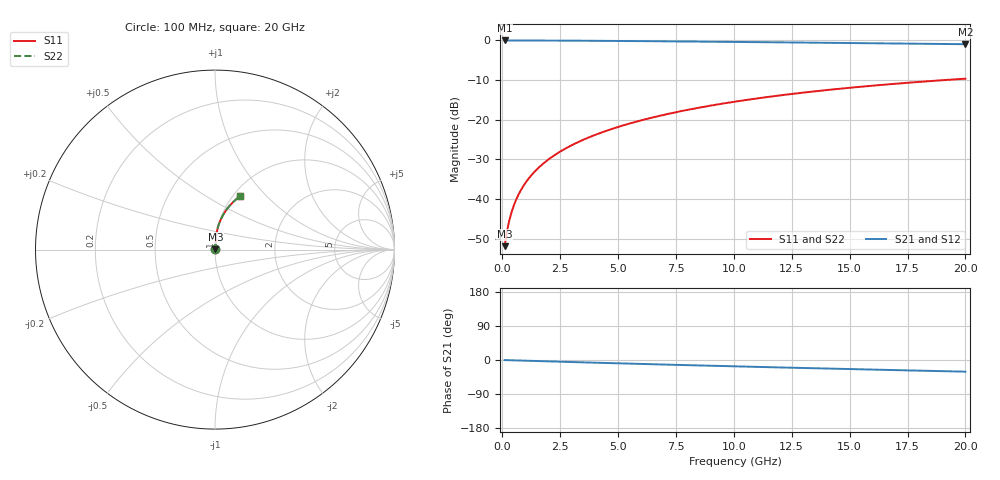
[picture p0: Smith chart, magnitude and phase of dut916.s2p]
! Touchstone file exported from HFSS 2024.1.0
!  File:  C:/UserFiles/LocalFiles/RDL_TSV_Batchsim/temp_RDL_bottom_916_1779940725.aedt
!  Generated:  12:01:41 PM May 28, 2026
!  Design:  RDL_bottom
!  Project:  temp_RDL_bottom_916_1779940725
!  Setup:  Setup1
!  Solution:  Sweep
! Variables:
!  dtsv = 10.80580581um
!  hbump = 3um
!  htsv = 87.09um
!  ldown = 379.09um
!  lrdl = 100um
!  p = 40
!  p1 = 58.89um
!  rhole = 1um
!  t = 450um
!  tdown = 3.62um
!  trdl = 3.915915916um
!  wdown = 21.67um
!  wrdl = 20um
# GHz S MA R 50.000000
! Terminal data exported
! Port[1] = RDL1_T1
! Port[2] = RDL1_T2
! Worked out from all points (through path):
!   200 points, 100 MHz to 20 GHz, reference 50 ohm
!   highest |S21| = -0.02 dB at 100 MHz (marker M1); lowest = -1.0 dB at 20 GHz (marker M2)
!   group delay of S21, straight-line fit = 4.24 ps
!   lowest |S11| = -51.9 dB at 100 MHz (marker M3), VSWR 1.01, Z = 50.2 + j0.169 ohm
!   |S11| at or under -10 dB: start of sweep to 19.11 GHz
!   |S22| runs from -51.9 to -9.6 dB; largest |S21 - S12| = 3.6e-15
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0.1  0.002543 41.3  0.9981 -0.2  0.9981 -0.2  0.002543 41.3
! Gamma 0 0 0 0
! Port Impedance 50 0 50 0
0.2  0.003867 59.0  0.998 -0.4  0.998 -0.4  0.003867 59.0
0.3  0.005328 67.1  0.9979 -0.6  0.9979 -0.6  0.005328 67.1
0.4  0.006818 71.6  0.9978 -0.7  0.9978 -0.7  0.006818 71.6
0.5  0.00832 74.6  0.9976 -0.9  0.9976 -0.9  0.00832 74.6
0.6  0.009832 76.8  0.9975 -1.1  0.9975 -1.1  0.009832 76.8
0.8  0.01288 79.6  0.9973 -1.5  0.9973 -1.5  0.01288 79.6
1.1  0.01751 82.0  0.9969 -2.0  0.9969 -2.0  0.01751 82.0
1.5  0.02375 83.8  0.9962 -2.7  0.9962 -2.7  0.02375 83.8
1.8  0.02847 84.6  0.9956 -3.3  0.9956 -3.3  0.02847 84.6
2.1  0.03323 85.1  0.9949 -3.8  0.9949 -3.8  0.03323 85.1
2.7  0.04285 85.6  0.9932 -4.8  0.9932 -4.8  0.04285 85.6
3.5  0.05589 85.7  0.9904 -6.2  0.9904 -6.2  0.05589 85.7
4.2  0.0675 85.6  0.9876 -7.4  0.9876 -7.4  0.06751 85.6
5  0.081 85.1  0.984 -8.8  0.984 -8.8  0.081 85.1
5.9  0.09642 84.4  0.9796 -10.3  0.9796 -10.3  0.09643 84.4
6.8  0.112 83.5  0.9749 -11.7  0.9749 -11.7  0.112 83.5
8.4  0.1401 81.5  0.9661 -14.2  0.9661 -14.2  0.1401 81.5
10.1  0.1698 79.2  0.9563 -16.8  0.9563 -16.8  0.1698 79.2
13.4  0.2263 74.3  0.9367 -21.7  0.9367 -21.7  0.2263 74.4
16.7  0.2797 69.4  0.9162 -26.3  0.9162 -26.3  0.2798 69.5
20  0.3292 64.7  0.8951 -30.8  0.8951 -30.8  0.3293 64.7
